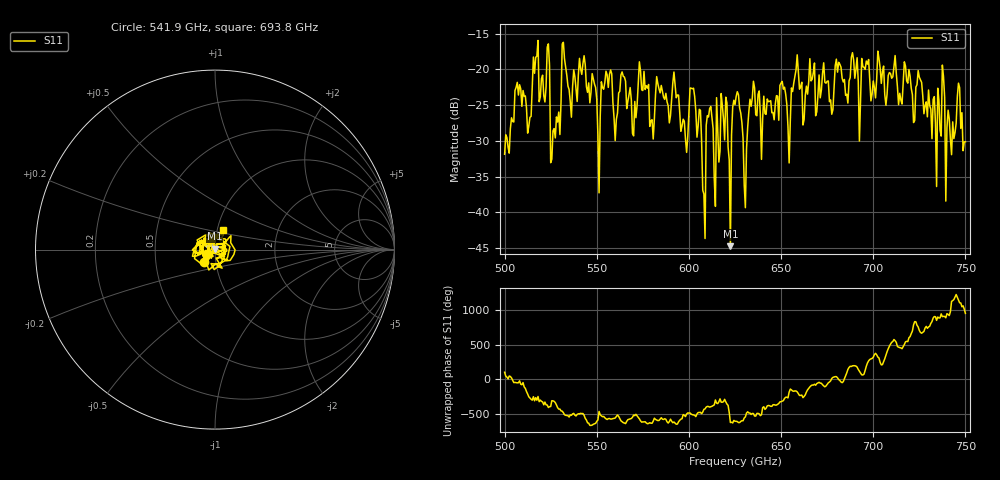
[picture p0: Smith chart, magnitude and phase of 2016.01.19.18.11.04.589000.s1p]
!Created with skrf (http://scikit-rf.org).
# GHz S RI R 50.0
!freq ReS11 ImS11
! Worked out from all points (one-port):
!   401 points, 500 GHz to 750 GHz, reference 50 ohm
!   lowest |S11| = -44.7 dB at 622.5 GHz (marker M1), VSWR 1.01, Z = 49.9 + j0.572 ohm
!   |S11| at or under -10 dB: start of sweep to end of sweep
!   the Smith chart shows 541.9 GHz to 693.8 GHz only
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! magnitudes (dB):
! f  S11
! 500 GHz  -31.9
! 506.9 GHz  -21.8
! 513.1 GHz  -27.9
! 516.9 GHz  -18.3
! 523.1 GHz  -16.9
! 526.2 GHz  -28.6
! 531.2 GHz  -16.5
! 542.5 GHz  -19.2
! 550.6 GHz  -29.2
! 553.8 GHz  -22.8
! 562.5 GHz  -23.1
! 593.8 GHz  -23.6
! 598.1 GHz  -29.7
! 601.9 GHz  -22.7
! 608.1 GHz  -37.4
! 611.2 GHz  -25.5
! 615 GHz  -24.0
! 619.4 GHz  -29.9
! 622.5 GHz  -44.7
! 625 GHz  -24.9
! 630.6 GHz  -39.3
! 634.4 GHz  -24.0
! 656.2 GHz  -23.1
! 687.5 GHz  -21.2
! 718.8 GHz  -21.9
! 740.6 GHz  -25.7
! 746.9 GHz  -22.6
! 750 GHz  -30.1
